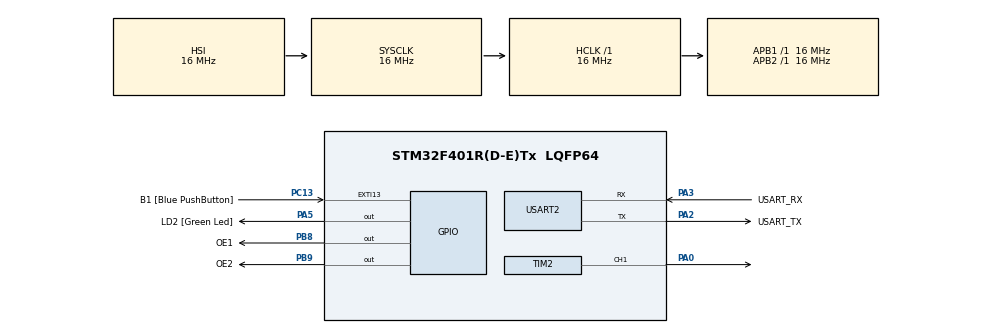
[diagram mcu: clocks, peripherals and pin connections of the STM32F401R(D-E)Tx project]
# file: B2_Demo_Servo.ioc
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Mcu.Family=STM32F4
Mcu.Name=STM32F401R(D-E)Tx
Mcu.Package=LQFP64
NVIC.PriorityGroup=NVIC_PRIORITYGROUP_0
PA0-WKUP.Signal=S_TIM2_CH1_ETR
PA13.GPIO_Label=TMS
PA13.Mode=Serial_Wire
PA13.Signal=SYS_JTMS-SWDIO
PA14.GPIO_Label=TCK
PA14.Mode=Serial_Wire
PA14.Signal=SYS_JTCK-SWCLK
PA2.GPIO_Label=USART_TX
PA2.GPIO_Mode=GPIO_MODE_AF_PP
PA2.GPIO_PuPd=GPIO_NOPULL
PA2.GPIO_Speed=GPIO_SPEED_FREQ_LOW
PA2.Mode=Asynchronous
PA2.Signal=USART2_TX
PA3.GPIO_Label=USART_RX
PA3.GPIO_Mode=GPIO_MODE_AF_PP
PA3.GPIO_PuPd=GPIO_NOPULL
PA3.GPIO_Speed=GPIO_SPEED_FREQ_LOW
PA3.Mode=Asynchronous
PA3.Signal=USART2_RX
PA5.GPIO_Label=LD2 [Green Led]
PA5.GPIO_Mode=GPIO_MODE_OUTPUT_PP
PA5.GPIO_PuPd=GPIO_NOPULL
PA5.GPIO_Speed=GPIO_SPEED_FREQ_LOW
PA5.Signal=GPIO_Output
PB3.GPIO_Label=SWO
PB3.Signal=SYS_JTDO-SWO
PB8.GPIO_Label=OE1
PB8.Signal=GPIO_Output
PB9.GPIO_Label=OE2
PB9.Signal=GPIO_Output
PC13-ANTI_TAMP.GPIO_Label=B1 [Blue PushButton]
PC13-ANTI_TAMP.GPIO_ModeDefaultEXTI=GPIO_MODE_IT_FALLING
PC13-ANTI_TAMP.GPIO_PuPd=GPIO_NOPULL
PC13-ANTI_TAMP.Signal=GPXTI13
PC14-OSC32_IN.Mode=LSE-External-Oscillator
PC14-OSC32_IN.Signal=RCC_OSC32_IN
PC15-OSC32_OUT.Mode=LSE-External-Oscillator
PC15-OSC32_OUT.Signal=RCC_OSC32_OUT
PH0\ -\ OSC_IN.Mode=HSE-External-Clock-Source
PH0\ -\ OSC_IN.Signal=RCC_OSC_IN
PH1\ -\ OSC_OUT.Mode=HSE-External-Clock-Source
PH1\ -\ OSC_OUT.Signal=RCC_OSC_OUT
ProjectManager.HeapSize=0x200
ProjectManager.StackSize=0x400
ProjectManager.TargetToolchain=STM32CubeIDE
RCC.48MHZClocksFreq_Value=48000000
RCC.AHBFreq_Value=16000000
RCC.APB1Freq_Value=16000000
RCC.APB1TimFreq_Value=16000000
RCC.APB2Freq_Value=16000000
RCC.APB2TimFreq_Value=16000000
RCC.CortexFreq_Value=16000000
RCC.HCLKFreq_Value=16000000
RCC.HSE_VALUE=8000000
RCC.HSI_VALUE=16000000
RCC.PLLN=336
RCC.PLLP=RCC_PLLP_DIV4
RCC.PLLQ=7
RCC.SYSCLKFreq_VALUE=16000000
RCC.VCOOutputFreq_Value=336000000
SH.S_TIM2_CH1_ETR.0=TIM2_CH1,PWM Generation1 CH1
TIM2.AutoReloadPreload=TIM_AUTORELOAD_PRELOAD_ENABLE
TIM2.Channel-PWM\ Generation1\ CH1=TIM_CHANNEL_1
TIM2.Period=20000-1
TIM2.Prescaler=16-1
TIM2.Pulse-PWM\ Generation1\ CH1=500-1
USART2.VirtualMode=VM_ASYNC
VP_TIM2_VS_ClockSourceINT.Mode=Internal
board=NUCLEO-F401RE

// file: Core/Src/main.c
/* USER CODE BEGIN Header */
/**
  ******************************************************************************
  * @file           : main.c
  * @brief          : Main program body
  ******************************************************************************
  * @attention
  *
  * Copyright (c) 2023 STMicroelectronics.
  * All rights reserved.
  *
  * This software is licensed under terms that can be found in the LICENSE file
  * in the root directory of this software component.
  * If no LICENSE file comes with this software, it is provided AS-IS.
  *
  ******************************************************************************
  */
/* USER CODE END Header */
#include "main.h"

TIM_HandleTypeDef htim2;

UART_HandleTypeDef huart2;

void SystemClock_Config(void);
static void MX_GPIO_Init(void);
static void MX_USART2_UART_Init(void);
static void MX_TIM2_Init(void);

int main(void)
{

  /* MCU Configuration--------------------------------------------------------*/

  /* Reset of all peripherals, Initializes the Flash interface and the Systick. */
  HAL_Init();

  /* Configure the system clock */
  SystemClock_Config();

  /* Initialize all configured peripherals */
  MX_GPIO_Init();
  MX_USART2_UART_Init();
  MX_TIM2_Init();
  /* USER CODE BEGIN 2 */
  int TIM2_Ch1_DCVAL = 500;
  int TIM2_CH1_STEP = 20;

  HAL_TIM_Base_Start(&htim2);
  HAL_TIM_PWM_Start(&htim2, TIM_CHANNEL_1);
  TIM2->PSC = 16-1;
  TIM2->ARR = 20000-1;
  TIM2->CCR1 = TIM2_Ch1_DCVAL;
  // Enable output buffer (Active Low)
  HAL_GPIO_WritePin(GPIOB, OE2_Pin, GPIO_PIN_RESET);
  HAL_GPIO_WritePin(GPIOB, OE1_Pin, GPIO_PIN_RESET);
  /* USER CODE END 2 */

  /* Infinite loop */
  /* USER CODE BEGIN WHILE */
  while (1)
  {
    // Below is servo code that moves it between both sides
	// When
	while(TIM2_Ch1_DCVAL < 2500) {
		TIM2_Ch1_DCVAL += (TIM2_CH1_STEP);
		TIM2->CCR1 = TIM2_Ch1_DCVAL;
		HAL_Delay(20);
	}
	while (TIM2_Ch1_DCVAL > 500) {
		TIM2_Ch1_DCVAL -= (TIM2_CH1_STEP);
		TIM2->CCR1 = TIM2_Ch1_DCVAL;
		HAL_Delay(20);
	}
    /* USER CODE END WHILE */

  }
}

void SystemClock_Config(void)
{
  RCC_OscInitTypeDef RCC_OscInitStruct = {0};
  RCC_ClkInitTypeDef RCC_ClkInitStruct = {0};

  /** Configure the main internal regulator output voltage
  */
  __HAL_RCC_PWR_CLK_ENABLE();
  __HAL_PWR_VOLTAGESCALING_CONFIG(PWR_REGULATOR_VOLTAGE_SCALE2);

  /** Initializes the RCC Oscillators according to the specified parameters
  * in the RCC_OscInitTypeDef structure.
  */
  RCC_OscInitStruct.OscillatorType = RCC_OSCILLATORTYPE_HSI;
  RCC_OscInitStruct.HSIState = RCC_HSI_ON;
  RCC_OscInitStruct.HSICalibrationValue = RCC_HSICALIBRATION_DEFAULT;
  RCC_OscInitStruct.PLL.PLLState = RCC_PLL_NONE;
  if (HAL_RCC_OscConfig(&RCC_OscInitStruct) != HAL_OK)
  {
    Error_Handler();
  }

  /** Initializes the CPU, AHB and APB buses clocks
  */
  RCC_ClkInitStruct.ClockType = RCC_CLOCKTYPE_HCLK|RCC_CLOCKTYPE_SYSCLK
                              |RCC_CLOCKTYPE_PCLK1|RCC_CLOCKTYPE_PCLK2;
  RCC_ClkInitStruct.SYSCLKSource = RCC_SYSCLKSOURCE_HSI;
  RCC_ClkInitStruct.AHBCLKDivider = RCC_SYSCLK_DIV1;
  RCC_ClkInitStruct.APB1CLKDivider = RCC_HCLK_DIV1;
  RCC_ClkInitStruct.APB2CLKDivider = RCC_HCLK_DIV1;

  if (HAL_RCC_ClockConfig(&RCC_ClkInitStruct, FLASH_LATENCY_0) != HAL_OK)
  {
    Error_Handler();
  }
}

static void MX_TIM2_Init(void)
{

  TIM_ClockConfigTypeDef sClockSourceConfig = {0};
  TIM_MasterConfigTypeDef sMasterConfig = {0};
  TIM_OC_InitTypeDef sConfigOC = {0};

  htim2.Instance = TIM2;
  htim2.Init.Prescaler = 16-1;
  htim2.Init.CounterMode = TIM_COUNTERMODE_UP;
  htim2.Init.Period = 20000-1;
  htim2.Init.ClockDivision = TIM_CLOCKDIVISION_DIV1;
  htim2.Init.AutoReloadPreload = TIM_AUTORELOAD_PRELOAD_ENABLE;
  if (HAL_TIM_Base_Init(&htim2) != HAL_OK)
  {
    Error_Handler();
  }
  sClockSourceConfig.ClockSource = TIM_CLOCKSOURCE_INTERNAL;
  if (HAL_TIM_ConfigClockSource(&htim2, &sClockSourceConfig) != HAL_OK)
  {
    Error_Handler();
  }
  if (HAL_TIM_PWM_Init(&htim2) != HAL_OK)
  {
    Error_Handler();
  }
  sMasterConfig.MasterOutputTrigger = TIM_TRGO_RESET;
  sMasterConfig.MasterSlaveMode = TIM_MASTERSLAVEMODE_DISABLE;
  if (HAL_TIMEx_MasterConfigSynchronization(&htim2, &sMasterConfig) != HAL_OK)
  {
    Error_Handler();
  }
  sConfigOC.OCMode = TIM_OCMODE_PWM1;
  sConfigOC.Pulse = 500-1;
  sConfigOC.OCPolarity = TIM_OCPOLARITY_HIGH;
  sConfigOC.OCFastMode = TIM_OCFAST_DISABLE;
  if (HAL_TIM_PWM_ConfigChannel(&htim2, &sConfigOC, TIM_CHANNEL_1) != HAL_OK)
  {
    Error_Handler();
  }
  HAL_TIM_MspPostInit(&htim2);

}

static void MX_USART2_UART_Init(void)
{

  huart2.Instance = USART2;
  huart2.Init.BaudRate = 115200;
  huart2.Init.WordLength = UART_WORDLENGTH_8B;
  huart2.Init.StopBits = UART_STOPBITS_1;
  huart2.Init.Parity = UART_PARITY_NONE;
  huart2.Init.Mode = UART_MODE_TX_RX;
  huart2.Init.HwFlowCtl = UART_HWCONTROL_NONE;
  huart2.Init.OverSampling = UART_OVERSAMPLING_16;
  if (HAL_UART_Init(&huart2) != HAL_OK)
  {
    Error_Handler();
  }

}

static void MX_GPIO_Init(void)
{
  GPIO_InitTypeDef GPIO_InitStruct = {0};

  /* GPIO Ports Clock Enable */
  __HAL_RCC_GPIOC_CLK_ENABLE();
  __HAL_RCC_GPIOH_CLK_ENABLE();
  __HAL_RCC_GPIOA_CLK_ENABLE();
  __HAL_RCC_GPIOB_CLK_ENABLE();

  /*Configure GPIO pin Output Level */
  HAL_GPIO_WritePin(LD2_GPIO_Port, LD2_Pin, GPIO_PIN_RESET);

  /*Configure GPIO pin Output Level */
  HAL_GPIO_WritePin(GPIOB, OE1_Pin|OE2_Pin, GPIO_PIN_RESET);

  /*Configure GPIO pin : B1_Pin */
  GPIO_InitStruct.Pin = B1_Pin;
  GPIO_InitStruct.Mode = GPIO_MODE_IT_FALLING;
  GPIO_InitStruct.Pull = GPIO_NOPULL;
  HAL_GPIO_Init(B1_GPIO_Port, &GPIO_InitStruct);

  /*Configure GPIO pin : LD2_Pin */
  GPIO_InitStruct.Pin = LD2_Pin;
  GPIO_InitStruct.Mode = GPIO_MODE_OUTPUT_PP;
  GPIO_InitStruct.Pull = GPIO_NOPULL;
  GPIO_InitStruct.Speed = GPIO_SPEED_FREQ_LOW;
  HAL_GPIO_Init(LD2_GPIO_Port, &GPIO_InitStruct);

  /*Configure GPIO pins : OE1_Pin OE2_Pin */
  GPIO_InitStruct.Pin = OE1_Pin|OE2_Pin;
  GPIO_InitStruct.Mode = GPIO_MODE_OUTPUT_PP;
  GPIO_InitStruct.Pull = GPIO_NOPULL;
  GPIO_InitStruct.Speed = GPIO_SPEED_FREQ_LOW;
  HAL_GPIO_Init(GPIOB, &GPIO_InitStruct);

}

void Error_Handler(void)
{
  __disable_irq();
  while (1)
  {
  }
}
